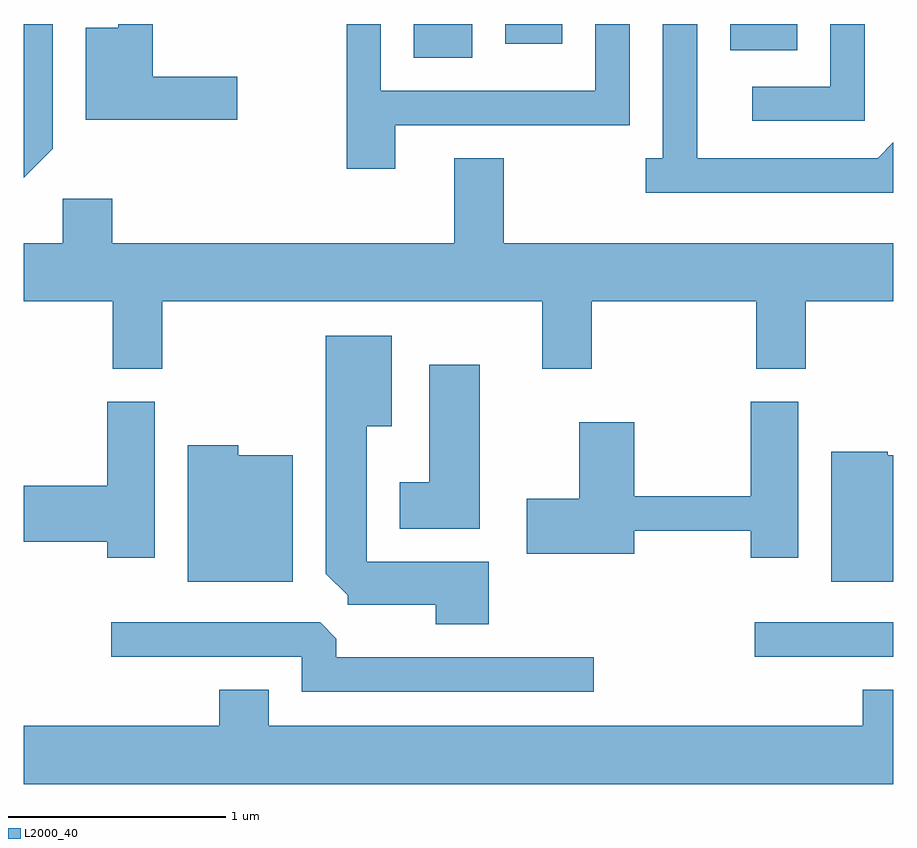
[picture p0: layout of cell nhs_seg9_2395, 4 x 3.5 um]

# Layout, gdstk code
import gdstk
lib = gdstk.Library(unit=1e-6, precision=1e-09)
def R(c, l, rs):  # rectangles x0, y0, x1, y1
    for r in rs: c.add(gdstk.rectangle(r[:2], r[2:], *l))
def P(c, l, *ps):  # polygons
    for p in ps: c.add(gdstk.Polygon(p, *l))
L2000_40 = (2000, 40)

nhs_seg9_2395 = lib.new_cell('nhs_seg9_2395')
R(nhs_seg9_2395, L2000_40, [(258.973,1983.521,259.611,1983.679), (257.406,1986.276,257.674,1986.432), (258.861,1986.311,259.169,1986.432), (257.826,1986.341,258.089,1986.432)])
P(nhs_seg9_2395, L2000_40, [(259.479,1986.432),(259.321,1986.432),(259.321,1986.144),(258.962,1986.144),(258.962,1985.986),(259.479,1985.986)],
  [(259.611,1985.887),(259.539,1985.814),(258.709,1985.814),(258.709,1986.432),(258.551,1986.432),(258.551,1985.814),(258.473,1985.814),(258.473,1985.656),(259.611,1985.656)],
  [(256.594,1986.189),(256.204,1986.189),(256.204,1986.432),(256.046,1986.432),(256.046,1986.414),(255.896,1986.414),(255.896,1985.991),(256.594,1985.991)],
  [(255.744,1985.859),(255.744,1986.432),(255.611,1986.432),(255.611,1985.725)],
  [(257.319,1985.966),(258.399,1985.966),(258.399,1986.432),(258.241,1986.432),(258.241,1986.124),(257.254,1986.124),(257.254,1986.432),(257.096,1986.432),(257.096,1985.766),(257.319,1985.766)],
  [(257.819,1985.814),(257.591,1985.814),(257.591,1985.424),(256.019,1985.424),(256.019,1985.629),(255.791,1985.629),(255.791,1985.424),(255.611,1985.424),(255.611,1985.156),(256.021,1985.156),(256.021,1984.846),(256.249,1984.846),(256.249,1985.156),(257.996,1985.156),(257.996,1984.846),(258.224,1984.846),(258.224,1985.156),(258.981,1985.156),(258.981,1984.846),(259.209,1984.846),(259.209,1985.156),(259.611,1985.156),(259.611,1985.424),(257.819,1985.424)],
  [(257.749,1983.959),(257.189,1983.959),(257.189,1984.581),(257.304,1984.581),(257.304,1984.999),(257.001,1984.999),(257.001,1983.904),(257.101,1983.804),(257.101,1983.761),(257.506,1983.761),(257.506,1983.671),(257.749,1983.671)],
  [(257.709,1984.864),(257.476,1984.864),(257.476,1984.324),(257.341,1984.324),(257.341,1984.111),(257.709,1984.111)],
  [(259.174,1984.694),(258.956,1984.694),(258.956,1984.259),(258.419,1984.259),(258.419,1984.599),(258.166,1984.599),(258.166,1984.249),(257.926,1984.249),(257.926,1983.996),(258.419,1983.996),(258.419,1984.101),(258.956,1984.101),(258.956,1983.976),(259.174,1983.976)],
  [(256.214,1984.694),(255.996,1984.694),(255.996,1984.309),(255.611,1984.309),(255.611,1984.051),(255.996,1984.051),(255.996,1983.976),(256.214,1983.976)],
  [(256.849,1984.449),(256.599,1984.449),(256.599,1984.494),(256.366,1984.494),(256.366,1983.866),(256.849,1983.866)],
  [(259.611,1984.449),(259.585,1984.449),(259.585,1984.464),(259.326,1984.464),(259.326,1983.866),(259.611,1983.866)],
  [(258.233,1983.519),(257.049,1983.519),(257.049,1983.604),(256.974,1983.679),(256.013,1983.679),(256.013,1983.521),(256.891,1983.521),(256.891,1983.361),(258.233,1983.361)],
  [(259.611,1983.369),(259.471,1983.369),(259.471,1983.204),(256.739,1983.204),(256.739,1983.369),(256.511,1983.369),(256.511,1983.204),(255.611,1983.204),(255.611,1982.936),(259.611,1982.936)])

lib.write_gds('nhs_seg9_2395.gds')
